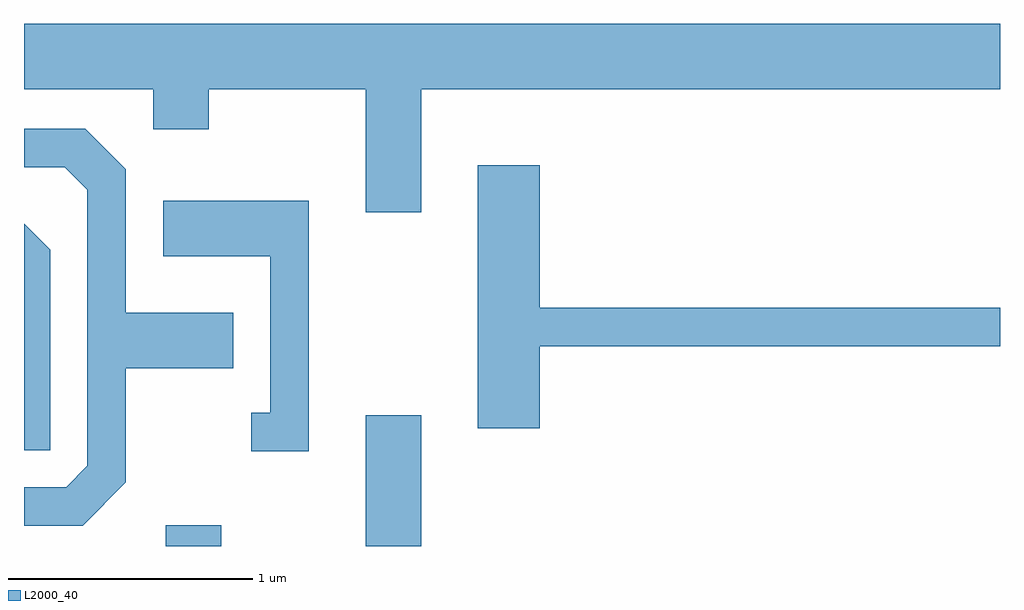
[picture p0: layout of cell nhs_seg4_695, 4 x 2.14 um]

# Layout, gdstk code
import gdstk
lib = gdstk.Library(unit=1e-6, precision=1e-09)
def R(c, l, rs):  # rectangles x0, y0, x1, y1
    for r in rs: c.add(gdstk.rectangle(r[:2], r[2:], *l))
def P(c, l, *ps):  # polygons
    for p in ps: c.add(gdstk.Polygon(p, *l))
L2000_40 = (2000, 40)

nhs_seg4_695 = lib.new_cell('nhs_seg4_695')
R(nhs_seg4_695, L2000_40, [(206.191,1283.982,206.419,1284.069), (207.011,1283.982,207.239,1284.519)])
P(nhs_seg4_695, L2000_40, [(207.239,1285.856),(209.611,1285.856),(209.611,1286.124),(205.611,1286.124),(205.611,1285.856),(206.141,1285.856),(206.141,1285.691),(206.369,1285.691),(206.369,1285.856),(207.011,1285.856),(207.011,1285.351),(207.239,1285.351)],
  [(206.029,1284.244),(206.029,1284.711),(206.469,1284.711),(206.469,1284.939),(206.029,1284.939),(206.029,1285.527),(205.862,1285.694),(205.611,1285.694),(205.611,1285.536),(205.779,1285.536),(205.871,1285.444),(205.871,1284.312),(205.784,1284.224),(205.611,1284.224),(205.611,1284.066),(205.852,1284.066)],
  [(207.724,1284.801),(209.611,1284.801),(209.611,1284.959),(207.724,1284.959),(207.724,1285.544),(207.471,1285.544),(207.471,1284.466),(207.724,1284.466)],
  [(206.779,1285.399),(206.181,1285.399),(206.181,1285.171),(206.621,1285.171),(206.621,1284.529),(206.543,1284.529),(206.543,1284.371),(206.779,1284.371)],
  [(205.719,1285.197),(205.611,1285.305),(205.611,1284.376),(205.719,1284.376)])

lib.write_gds('nhs_seg4_695.gds')
